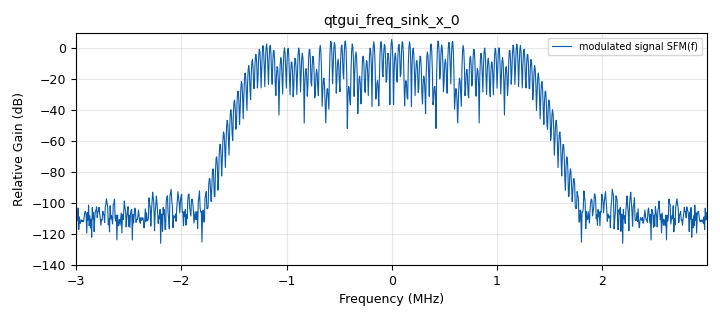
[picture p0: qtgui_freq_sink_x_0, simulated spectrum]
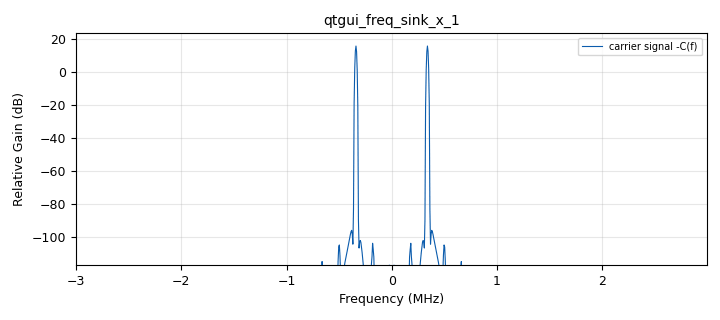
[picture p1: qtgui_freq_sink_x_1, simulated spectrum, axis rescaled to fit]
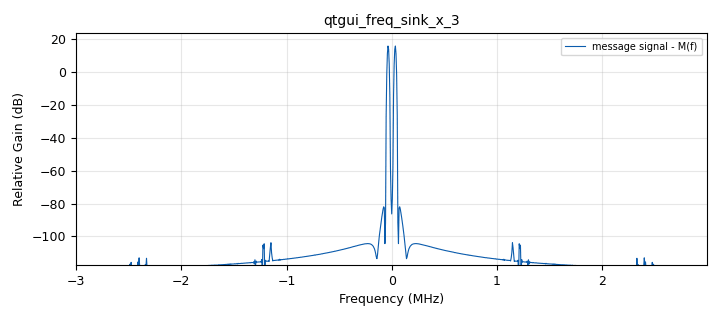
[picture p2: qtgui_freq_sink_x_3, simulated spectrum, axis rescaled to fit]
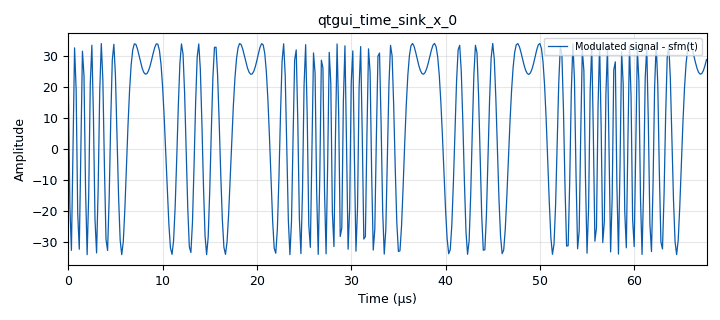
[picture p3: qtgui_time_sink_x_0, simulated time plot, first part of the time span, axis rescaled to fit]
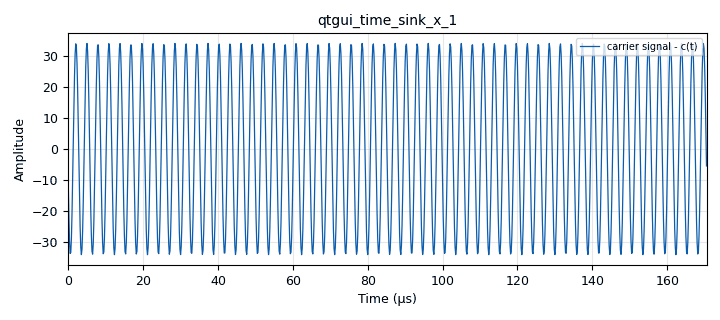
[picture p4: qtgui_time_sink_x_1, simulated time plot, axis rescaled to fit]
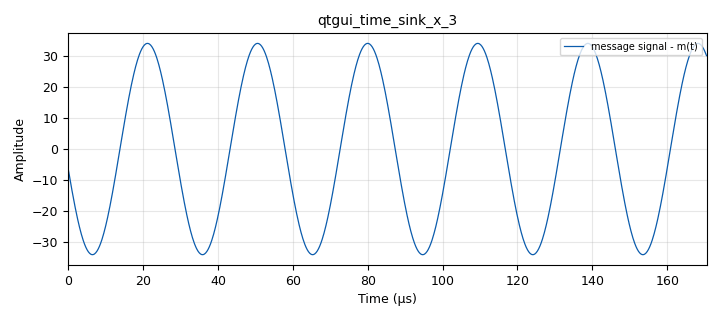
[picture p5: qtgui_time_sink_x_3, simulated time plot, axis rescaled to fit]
options:
  parameters:
    author: saman
    generate_options: qt_gui
    id: fm
    output_language: python
    title: Not titled yet
  states: {}

blocks:
- name: samp_rate
  id: variable
  parameters:
    value: '6000000'
  states: {}
- name: analog_sig_source_x_0
  id: analog_sig_source_x
  parameters:
    alias: Message signal
    amp: '34'
    freq: '34000'
    offset: '0'
    phase: '0'
    samp_rate: samp_rate
    type: float
    waveform: analog.GR_SIN_WAVE
  states: {}
- name: analog_sig_source_x_1
  id: analog_sig_source_x
  parameters:
    amp: '34'
    freq: '340000'
    offset: '0'
    phase: '0'
    samp_rate: samp_rate
    type: float
    waveform: analog.GR_COS_WAVE
  states: {}
- name: analog_sig_source_x_2
  id: analog_sig_source_x
  parameters:
    amp: '34'
    freq: '340000'
    offset: '0'
    phase: '0'
    samp_rate: samp_rate
    type: float
    waveform: analog.GR_SIN_WAVE
  states: {}
- name: blocks_add_xx_0
  id: blocks_add_xx
  parameters:
    type: float
  states: {}
- name: blocks_float_to_complex_0
  id: blocks_float_to_complex
  parameters: {}
  states: {}
- name: blocks_multiply_const_vxx_0
  id: blocks_multiply_const_vxx
  parameters:
    const: '0.8'
    type: float
  states: {}
- name: blocks_multiply_xx_0
  id: blocks_multiply_xx
  parameters:
    type: float
  states: {}
- name: blocks_multiply_xx_1
  id: blocks_multiply_xx
  parameters:
    type: float
  states: {}
- name: blocks_transcendental_0
  id: blocks_transcendental
  parameters:
    name: cos
    type: float
  states: {}
- name: blocks_transcendental_1
  id: blocks_transcendental
  parameters:
    name: sin
    type: float
  states: {}
- name: iio_pluto_sink_0
  id: iio_pluto_sink
  parameters:
    attenuation1: '10.0'
    bandwidth: '1000000'
    buffer_size: '32768'
    cyclic: 'True'
    filter_source: '''Auto'''
    frequency: '1000000000'
    samplerate: samp_rate
    type: fc32
    uri: 192.168.2.1
  states: {}
- name: iio_pluto_source_0
  id: iio_pluto_source
  parameters:
    bandwidth: '1000000'
    bbdc: 'False'
    buffer_size: '32768'
    filter_source: '''Auto'''
    frequency: '1000000000'
    gain1: '''manual'''
    manual_gain1: '10'
    quadrature: 'True'
    rfdc: 'False'
    samplerate: samp_rate
    type: fc32
    uri: 192.168.2.1
  states: {}
- name: qtgui_freq_sink_x_0
  id: qtgui_freq_sink_x
  parameters:
    bw: samp_rate
    ctrlpanel: 'True'
    fc: '0'
    fftsize: '1024'
    label1: modulated signal SFM(f)
    type: float
  states: {}
- name: qtgui_freq_sink_x_1
  id: qtgui_freq_sink_x
  parameters:
    bw: samp_rate
    ctrlpanel: 'True'
    fc: '0'
    fftsize: '1024'
    label1: carrier signal -C(f)
    type: float
  states: {}
- name: qtgui_freq_sink_x_3
  id: qtgui_freq_sink_x
  parameters:
    bw: samp_rate
    ctrlpanel: 'True'
    fc: '0'
    fftsize: '1024'
    label1: message signal - M(f)
    type: float
  states: {}
- name: qtgui_sink_x_1
  id: qtgui_sink_x
  parameters:
    bw: samp_rate
    fc: '0'
    fftsize: '1024'
    name: '"Modulated with Pluto"'
    type: complex
  states: {}
- name: qtgui_time_sink_x_0
  id: qtgui_time_sink_x
  parameters:
    ctrlpanel: 'True'
    label1: Modulated signal - sfm(t)
    size: '1024'
    srate: samp_rate
    type: float
  states: {}
- name: qtgui_time_sink_x_1
  id: qtgui_time_sink_x
  parameters:
    ctrlpanel: 'True'
    label1: carrier signal - c(t)
    size: '1024'
    srate: samp_rate
    type: float
  states: {}
- name: qtgui_time_sink_x_3
  id: qtgui_time_sink_x
  parameters:
    ctrlpanel: 'True'
    label1: message signal - m(t)
    size: '1024'
    srate: samp_rate
    type: float
  states: {}

connections:
- [analog_sig_source_x_0, '0', blocks_multiply_const_vxx_0, '0']
- [analog_sig_source_x_0, '0', qtgui_freq_sink_x_3, '0']
- [analog_sig_source_x_0, '0', qtgui_time_sink_x_3, '0']
- [analog_sig_source_x_1, '0', blocks_multiply_xx_0, '0']
- [analog_sig_source_x_1, '0', qtgui_freq_sink_x_1, '0']
- [analog_sig_source_x_1, '0', qtgui_time_sink_x_1, '0']
- [analog_sig_source_x_2, '0', blocks_multiply_xx_1, '1']
- [blocks_add_xx_0, '0', blocks_float_to_complex_0, '0']
- [blocks_add_xx_0, '0', qtgui_freq_sink_x_0, '0']
- [blocks_add_xx_0, '0', qtgui_time_sink_x_0, '0']
- [blocks_float_to_complex_0, '0', iio_pluto_sink_0, '0']
- [blocks_multiply_const_vxx_0, '0', blocks_transcendental_0, '0']
- [blocks_multiply_const_vxx_0, '0', blocks_transcendental_1, '0']
- [blocks_multiply_xx_0, '0', blocks_add_xx_0, '0']
- [blocks_multiply_xx_1, '0', blocks_add_xx_0, '1']
- [blocks_transcendental_0, '0', blocks_multiply_xx_0, '1']
- [blocks_transcendental_1, '0', blocks_multiply_xx_1, '0']
- [iio_pluto_source_0, '0', qtgui_sink_x_1, '0']

metadata:
  file_format: 1
  grc_version: 3.10.9.2
